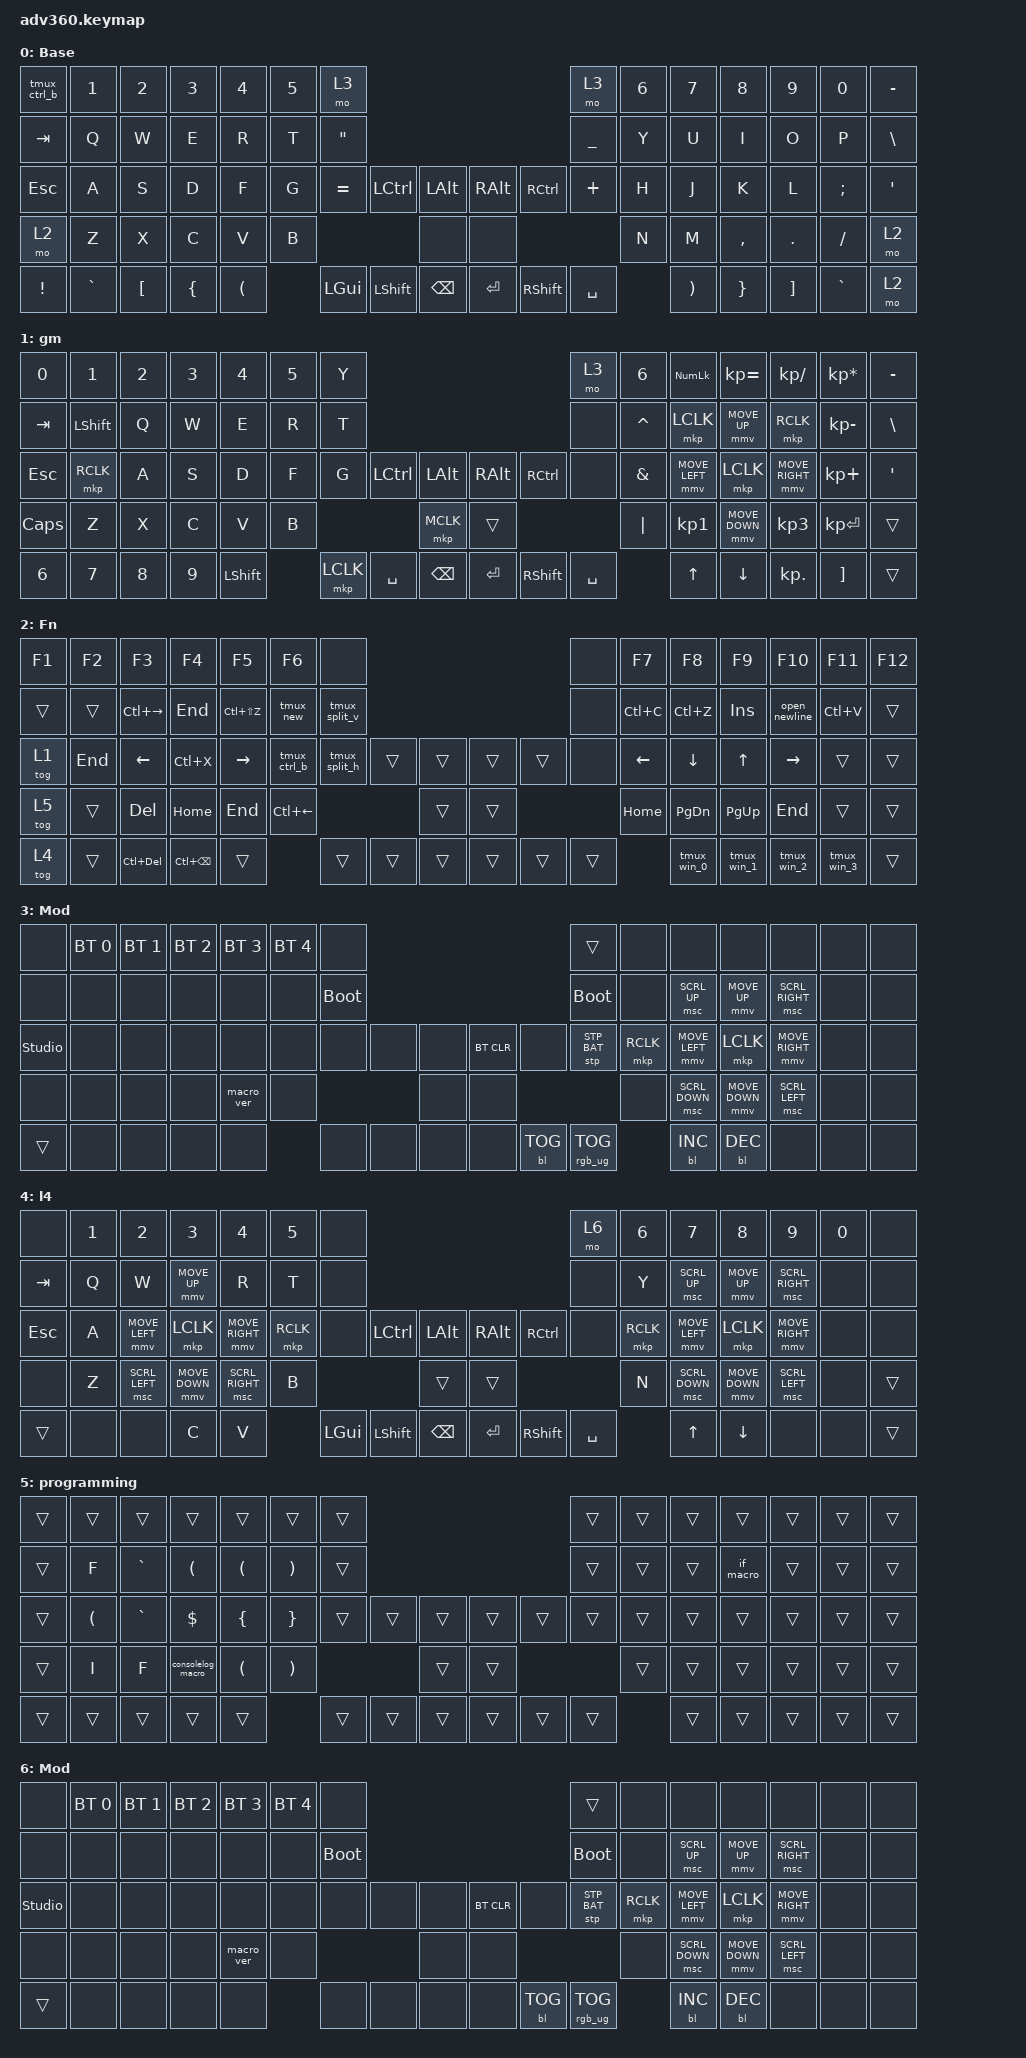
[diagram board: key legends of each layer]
#include <dt-bindings/zmk/stp.h>
#include <behaviors.dtsi>
#include <dt-bindings/zmk/backlight.h>
#include <dt-bindings/zmk/bt.h>
#include <dt-bindings/zmk/keys.h>
#include <dt-bindings/zmk/pointing.h>
#include <dt-bindings/zmk/rgb.h>

/ {
    behaviors {
        #include "macros.dtsi"
      #include "version.dtsi"

        hm: homerow_mods {
            compatible = "zmk,behavior-hold-tap";
            label = "HOMEROW_MODS";
            #binding-cells = <2>;
            tapping-term-ms = <200>;
            quick_tap_ms = <175>;
            flavor = "tap-preferred";
            bindings = <&kp>, <&kp>;
        };

        ht: ht {
            compatible = "zmk,behavior-hold-tap";
            label = "HT";
            bindings = <&kp>, <&kp>;

            #binding-cells = <2>;
            tapping-term-ms = <200>;
        };
    };

    macros {
        if_macro: if_macro {
            compatible = "zmk,behavior-macro";
            #binding-cells = <0>;
            bindings = <&kp I &kp F &kp SPACE &kp LPAR>;
            label = "IF_MACRO";
        };

        consolelog_macro: consolelog_macro {
            compatible = "zmk,behavior-macro";
            #binding-cells = <0>;
            bindings = <&kp C &kp O &kp N &kp S &kp O &kp L &kp E &kp DOT &kp L &kp O &kp G &kp LPAR &kp GRAVE &kp DLLR &kp LEFT_BRACE>;
            label = "CONSOLELOG_MACRO";
        };

        tmux_win_0: tmux_win_1 {
            compatible = "zmk,behavior-macro";
            #binding-cells = <0>;
            bindings = <&kp LC(B) &kp N0>;
            label = "TMUX_WIN_1";
        };

        tmux_win_1: new_macro {
            compatible = "zmk,behavior-macro";
            #binding-cells = <0>;
            bindings = <&kp LC(B) &kp N1>;
            label = "NEW_MACRO";
        };

        tmux_win_2: tmux_win_2 {
            compatible = "zmk,behavior-macro";
            #binding-cells = <0>;
            bindings = <&kp LC(B) &kp N2>;
            label = "TMUX_WIN_2";
        };

        tmux_win_3: tmux_win_3 {
            compatible = "zmk,behavior-macro";
            #binding-cells = <0>;
            bindings = <&kp LC(B) &kp N3>;
            label = "TMUX_WIN_3";
        };

        tmux_ctrl_b: tmux_ctrl_b {
            compatible = "zmk,behavior-macro";
            #binding-cells = <0>;
            bindings = <&kp LC(B)>;
            label = "TMUX_CTRL_B";
        };

        tmux_split_v: tmux_split_v {
            compatible = "zmk,behavior-macro";
            #binding-cells = <0>;
            bindings = <&kp LC(B) &kp PERCENT>;
            label = "TMUX_SPLIT_V";
        };

        tmux_split_h: tmux_split_h {
            compatible = "zmk,behavior-macro";
            #binding-cells = <0>;
            bindings = <&kp LC(B) &kp DOUBLE_QUOTES>;
            label = "TMUX_SPLIT_H";
        };

        tmux_new: tmux_new {
            compatible = "zmk,behavior-macro";
            #binding-cells = <0>;
            bindings = <&kp LC(B) &kp C>;
            label = "TMUX_NEW";
        };

        tmux_exit: tmux_exit {
            compatible = "zmk,behavior-macro";
            #binding-cells = <0>;
            bindings = <&kp LC(B) &kp D>;
            label = "TMUX_EXIT";
        };

        open_newline: open_newline {
            compatible = "zmk,behavior-macro";
            #binding-cells = <0>;
            bindings = <&kp END &kp ENTER>;
            label = "OPEN_NEWLINE";
        };
    };

    keymap {
        compatible = "zmk,keymap";

        default_layer {
            display-name = "Base";
            bindings = <
&tmux_ctrl_b  &kp N1     &kp N2            &kp N3          &kp N4                &kp N5  &mo 3                                                                                 &mo 3           &kp N6  &kp N7                 &kp N8           &kp N9             &kp N0     &kp MINUS
&kp TAB       &kp Q      &kp W             &kp E           &kp R                 &kp T   &kp DOUBLE_QUOTES                                                                     &kp UNDERSCORE  &kp Y   &kp U                  &kp I            &kp O              &kp P      &kp BSLH
&kp ESC       &kp A      &kp S             &kp D           &kp F                 &kp G   &kp EQUAL          &kp LCTRL       &kp LALT           &kp RIGHT_ALT  &kp RCTRL        &kp PLUS        &kp H   &kp J                  &kp K            &kp L              &kp SEMI   &kp SQT
&mo 2         &kp Z      &kp X             &kp C           &kp V                 &kp B                                      &none              &none                                           &kp N   &kp M                  &kp COMMA        &kp DOT            &kp FSLH   &mo 2
&kp EXCL      &kp GRAVE  &kp LEFT_BRACKET  &kp LEFT_BRACE  &kp LEFT_PARENTHESIS          &kp LEFT_GUI       &kp LEFT_SHIFT  &kp BACKSPACE      &kp ENTER      &kp RIGHT_SHIFT  &kp SPACE               &kp RIGHT_PARENTHESIS  &kp RIGHT_BRACE  &kp RIGHT_BRACKET  &kp GRAVE  &mo 2
            >;
        };

        gaming {
            display-name = "gm";
            bindings = <
&kp N0    &kp N1          &kp N2  &kp N3  &kp N4          &kp N5  &kp Y                                                                &mo 3      &kp N6     &kp KP_NUM      &kp KP_EQUAL    &kp KP_DIVIDE    &kp KP_MULTIPLY  &kp MINUS
&kp TAB   &kp LEFT_SHIFT  &kp Q   &kp W   &kp E           &kp R   &kp T                                                                &none      &kp CARET  &mkp LCLK       &mmv MOVE_UP    &mkp RCLK        &kp KP_MINUS     &kp BSLH
&kp ESC   &mkp RCLK       &kp A   &kp S   &kp D           &kp F   &kp G      &kp LCTRL  &kp LALT       &kp RIGHT_ALT  &kp RCTRL        &none      &kp AMPS   &mmv MOVE_LEFT  &mkp LCLK       &mmv MOVE_RIGHT  &kp KP_PLUS      &kp SQT
&kp CAPS  &kp Z           &kp X   &kp C   &kp V           &kp B                         &mkp MCLK      &trans                                     &kp PIPE   &kp KP_N1       &mmv MOVE_DOWN  &kp KP_N3        &kp KP_ENTER     &trans
&kp N6    &kp N7          &kp N8  &kp N9  &kp LEFT_SHIFT          &mkp LCLK  &kp SPACE  &kp BSPC       &kp ENTER      &kp RIGHT_SHIFT  &kp SPACE             &kp UP          &kp DOWN        &kp KP_DOT       &kp RBKT         &trans
            >;
        };

        fn {
            display-name = "Fn";
            bindings = <
&kp F1  &kp F2   &kp F3               &kp F4             &kp F5         &kp F6              &none                                              &none   &kp F7          &kp F8          &kp F9        &kp F10          &kp F11      &kp F12
&trans  &trans   &kp LC(RIGHT_ARROW)  &kp END            &kp LC(LS(Z))  &tmux_new           &tmux_split_v                                      &none   &kp LC(C)       &kp LC(Z)       &kp INSERT    &open_newline    &kp LC(V)    &trans
&tog 1  &kp END  &kp LEFT             &kp LC(X)          &kp RIGHT      &tmux_ctrl_b        &tmux_split_h  &trans  &trans      &trans  &trans  &none   &kp LEFT_ARROW  &kp DOWN_ARROW  &kp UP_ARROW  &kp RIGHT_ARROW  &trans       &trans
&tog 5  &trans   &kp DELETE           &kp HOME           &kp END        &kp LC(LEFT_ARROW)                         &trans      &trans                  &kp HOME        &kp PAGE_DOWN   &kp PAGE_UP   &kp END          &trans       &trans
&tog 4  &trans   &kp LC(DELETE)       &kp LC(BACKSPACE)  &trans                             &trans         &trans  &trans      &trans  &trans  &trans                  &tmux_win_0     &tmux_win_1   &tmux_win_2      &tmux_win_3  &trans
            >;
        };

        mod {
            display-name = "Mod";
            bindings = <
&none           &bt BT_SEL 0  &bt BT_SEL 1  &bt BT_SEL 2  &bt BT_SEL 3  &bt BT_SEL 4  &none                                                  &trans           &none      &none           &none           &none            &none  &none
&none           &none         &none         &none         &none         &none         &bootloader                                            &bootloader      &none      &msc SCRL_UP    &mmv MOVE_UP    &msc SCRL_RIGHT  &none  &none
&studio_unlock  &none         &none         &none         &none         &none         &none        &none  &none      &bt BT_CLR  &none       &stp STP_BAT     &mkp RCLK  &mmv MOVE_LEFT  &mkp LCLK       &mmv MOVE_RIGHT  &none  &none
&none           &none         &none         &none         &macro_ver    &none                             &none      &none                                    &none      &msc SCRL_DOWN  &mmv MOVE_DOWN  &msc SCRL_LEFT   &none  &none
&trans          &none         &none         &none         &none                       &none        &none  &none      &none       &bl BL_TOG  &rgb_ug RGB_TOG             &bl BL_INC      &bl BL_DEC      &none            &none  &none
            >;
        };

        mostly-mouse {
            display-name = "l4";
            bindings = <
&none       &kp N1  &kp N2          &kp N3          &kp N4           &kp N5     &none                                                                               &mo 6      &kp N6     &kp N7          &kp N8          &kp N9           &kp N0  &none
&kp TAB     &kp Q   &kp W           &mmv MOVE_UP    &kp R            &kp T      &none                                                                               &none      &kp Y      &msc SCRL_UP    &mmv MOVE_UP    &msc SCRL_RIGHT  &none   &none
&kp ESCAPE  &kp A   &mmv MOVE_LEFT  &mkp LCLK       &mmv MOVE_RIGHT  &mkp RCLK  &none         &kp LEFT_CONTROL  &kp LEFT_ALT      &kp RIGHT_ALT  &kp RIGHT_CONTROL  &none      &mkp RCLK  &mmv MOVE_LEFT  &mkp LCLK       &mmv MOVE_RIGHT  &none   &none
&none       &kp Z   &msc SCRL_LEFT  &mmv MOVE_DOWN  &msc SCRL_RIGHT  &kp B                                      &trans            &trans                                       &kp N      &msc SCRL_DOWN  &mmv MOVE_DOWN  &msc SCRL_LEFT   &none   &trans
&trans      &none   &none           &kp C           &kp V                       &kp LEFT_GUI  &kp LEFT_SHIFT    &kp BSPC          &kp ENTER      &kp RIGHT_SHIFT    &kp SPACE             &kp UP_ARROW    &kp DOWN_ARROW  &none            &none   &trans
            >;

            label = "l4";
        };

        programming {
            bindings = <
&trans  &trans                &trans     &trans                &trans                &trans                 &trans                                      &trans  &trans  &trans  &trans     &trans  &trans  &trans
&trans  &kp F                 &kp GRAVE  &kp LEFT_PARENTHESIS  &kp LEFT_PARENTHESIS  &kp RIGHT_PARENTHESIS  &trans                                      &trans  &trans  &trans  &if_macro  &trans  &trans  &trans
&trans  &kp LEFT_PARENTHESIS  &kp GRAVE  &kp DOLLAR            &kp LEFT_BRACE        &kp RIGHT_BRACE        &trans  &trans  &trans      &trans  &trans  &trans  &trans  &trans  &trans     &trans  &trans  &trans
&trans  &kp I                 &kp F      &consolelog_macro     &kp LEFT_PARENTHESIS  &kp RIGHT_PARENTHESIS                  &trans      &trans                  &trans  &trans  &trans     &trans  &trans  &trans
&trans  &trans                &trans     &trans                &trans                                       &trans  &trans  &trans      &trans  &trans  &trans          &trans  &trans     &trans  &trans  &trans
            >;
        };

        mod_2 {
            display-name = "Mod";
            bindings = <
&none           &bt BT_SEL 0  &bt BT_SEL 1  &bt BT_SEL 2  &bt BT_SEL 3  &bt BT_SEL 4  &none                                                  &trans           &none      &none           &none           &none            &none  &none
&none           &none         &none         &none         &none         &none         &bootloader                                            &bootloader      &none      &msc SCRL_UP    &mmv MOVE_UP    &msc SCRL_RIGHT  &none  &none
&studio_unlock  &none         &none         &none         &none         &none         &none        &none  &none      &bt BT_CLR  &none       &stp STP_BAT     &mkp RCLK  &mmv MOVE_LEFT  &mkp LCLK       &mmv MOVE_RIGHT  &none  &none
&none           &none         &none         &none         &macro_ver    &none                             &none      &none                                    &none      &msc SCRL_DOWN  &mmv MOVE_DOWN  &msc SCRL_LEFT   &none  &none
&trans          &none         &none         &none         &none                       &none        &none  &none      &none       &bl BL_TOG  &rgb_ug RGB_TOG             &bl BL_INC      &bl BL_DEC      &none            &none  &none
            >;
        };
    };
};
